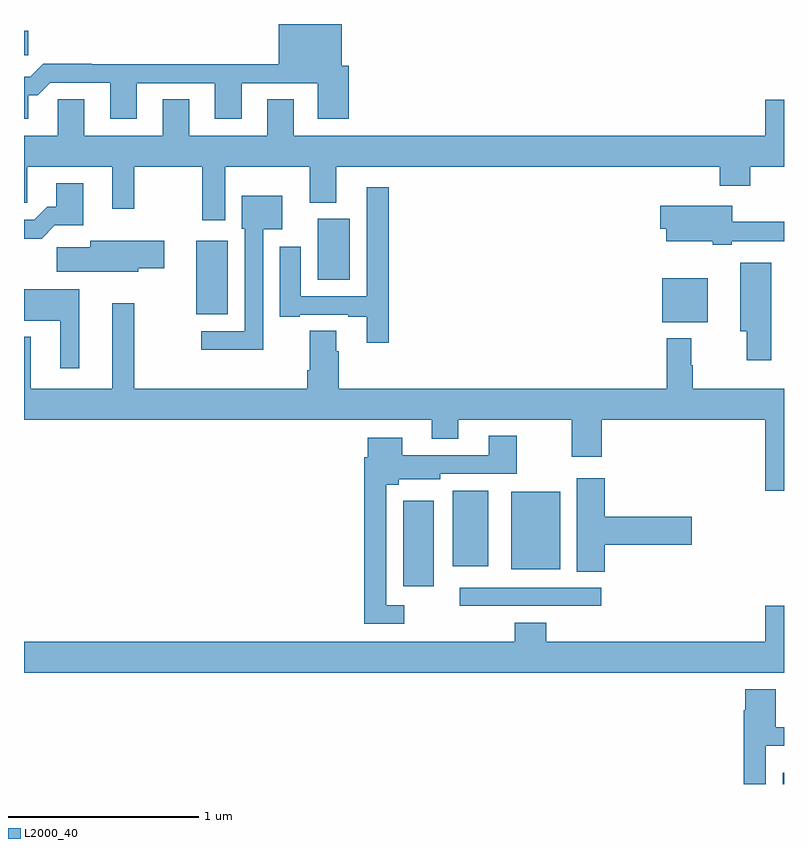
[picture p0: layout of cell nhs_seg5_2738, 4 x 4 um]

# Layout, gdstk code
import gdstk
lib = gdstk.Library(unit=1e-6, precision=1e-09)
def R(c, l, rs):  # rectangles x0, y0, x1, y1
    for r in rs: c.add(gdstk.rectangle(r[:2], r[2:], *l))
def P(c, l, *ps):  # polygons
    for p in ps: c.add(gdstk.Polygon(p, *l))
L2000_40 = (2000, 40)

nhs_seg5_2738 = lib.new_cell('nhs_seg5_2738')
R(nhs_seg5_2738, L2000_40, [(272.993,898.799,273,898.857), (271.293,899.736,272.038,899.832), (270.995,899.841,271.156,900.289), (271.565,899.93,271.822,900.337), (271.256,899.945,271.444,900.343), (272.36,901.229,272.599,901.462), (269.906,901.271,270.073,901.657), (270.545,901.454,270.715,901.774), (269,902.635,269.023,902.764)])
P(nhs_seg5_2738, L2000_40, [(269.023,902.423),(269.072,902.423),(269.139,902.49),(269.453,902.49),(269.453,902.301),(269.593,902.301),(269.593,902.487),(270.005,902.487),(270.005,902.301),(270.145,902.301),(270.145,902.487),(270.545,902.487),(270.545,902.301),(270.71,902.301),(270.71,902.58),(270.673,902.58),(270.673,902.799),(270.341,902.799),(270.341,902.588),(269.357,902.588),(269.357,902.591),(269.102,902.591),(269.032,902.521),(269,902.521),(269,902.301),(269.023,902.301)],
  [(270.058,902.048),(270.503,902.048),(270.503,901.859),(270.643,901.859),(270.643,902.048),(272.663,902.048),(272.663,901.949),(272.823,901.949),(272.823,902.048),(273,902.048),(273,902.401),(272.9,902.401),(272.9,902.212),(270.421,902.212),(270.421,902.402),(270.281,902.402),(270.281,902.212),(269.869,902.212),(269.869,902.402),(269.729,902.402),(269.729,902.212),(269.317,902.212),(269.317,902.402),(269.178,902.402),(269.178,902.212),(269,902.212),(269,901.858),(269.016,901.858),(269.016,902.048),(269.465,902.048),(269.465,901.827),(269.579,901.827),(269.579,902.048),(269.938,902.048),(269.938,901.767),(270.058,901.767)],
  [(269.162,901.739),(269.311,901.739),(269.311,901.96),(269.171,901.96),(269.171,901.837),(269.122,901.837),(269.055,901.77),(269,901.77),(269,901.67),(269.093,901.67)],
  [(270.92,901.939),(270.804,901.939),(270.804,901.365),(270.457,901.365),(270.457,901.627),(270.347,901.627),(270.347,901.257),(270.451,901.257),(270.451,901.269),(270.707,901.269),(270.707,901.257),(270.803,901.257),(270.803,901.122),(270.92,901.122)],
  [(270.258,901.718),(270.358,901.718),(270.358,901.894),(270.146,901.894),(270.146,901.722),(270.162,901.722),(270.162,901.182),(269.934,901.182),(269.934,901.085),(270.258,901.085)],
  [(272.724,901.656),(273,901.656),(273,901.757),(272.728,901.757),(272.728,901.843),(272.348,901.843),(272.348,901.721),(272.381,901.721),(272.381,901.655),(272.624,901.655),(272.624,901.636),(272.724,901.636)],
  [(269.602,901.514),(269.737,901.514),(269.737,901.657),(269.348,901.657),(269.348,901.625),(269.172,901.625),(269.172,901.496),(269.602,901.496)],
  [(272.932,901.543),(272.771,901.543),(272.771,901.181),(272.803,901.181),(272.803,901.029),(272.932,901.029)],
  [(269.29,901.402),(269,901.402),(269,901.238),(269.192,901.238),(269.192,900.987),(269.29,900.987)],
  [(273,900.88),(272.519,900.88),(272.519,901.004),(272.512,901.004),(272.512,901.144),(272.383,901.144),(272.383,900.88),(270.656,900.88),(270.656,901.076),(270.643,901.076),(270.643,901.184),(270.503,901.184),(270.503,900.976),(270.491,900.976),(270.491,900.88),(269.579,900.88),(269.579,901.33),(269.465,901.33),(269.465,900.88),(269.035,900.88),(269.035,901.153),(269,901.153),(269,900.716),(271.145,900.716),(271.145,900.617),(271.285,900.617),(271.285,900.716),(271.882,900.716),(271.882,900.522),(272.042,900.522),(272.042,900.716),(272.9,900.716),(272.9,900.342),(273,900.342)],
  [(271,899.739),(270.906,899.739),(270.906,900.374),(270.972,900.374),(270.972,900.404),(271.191,900.404),(271.191,900.432),(271.593,900.432),(271.593,900.631),(271.445,900.631),(271.445,900.528),(270.991,900.528),(270.991,900.622),(270.809,900.622),(270.809,900.518),(270.79,900.518),(270.79,899.643),(271,899.643)],
  [(272.057,900.059),(272.515,900.059),(272.515,900.206),(272.057,900.206),(272.057,900.409),(271.91,900.409),(271.91,899.917),(272.057,899.917)],
  [(273,899.737),(272.9,899.737),(272.9,899.548),(271.748,899.548),(271.748,899.647),(271.583,899.647),(271.583,899.548),(269,899.548),(269,899.384),(273,899.384)],
  [(272.904,899.001),(273,899.001),(273,899.097),(272.956,899.097),(272.956,899.299),(272.795,899.299),(272.795,899.186),(272.788,899.186),(272.788,898.799),(272.904,898.799)])

lib.write_gds('nhs_seg5_2738.gds')
